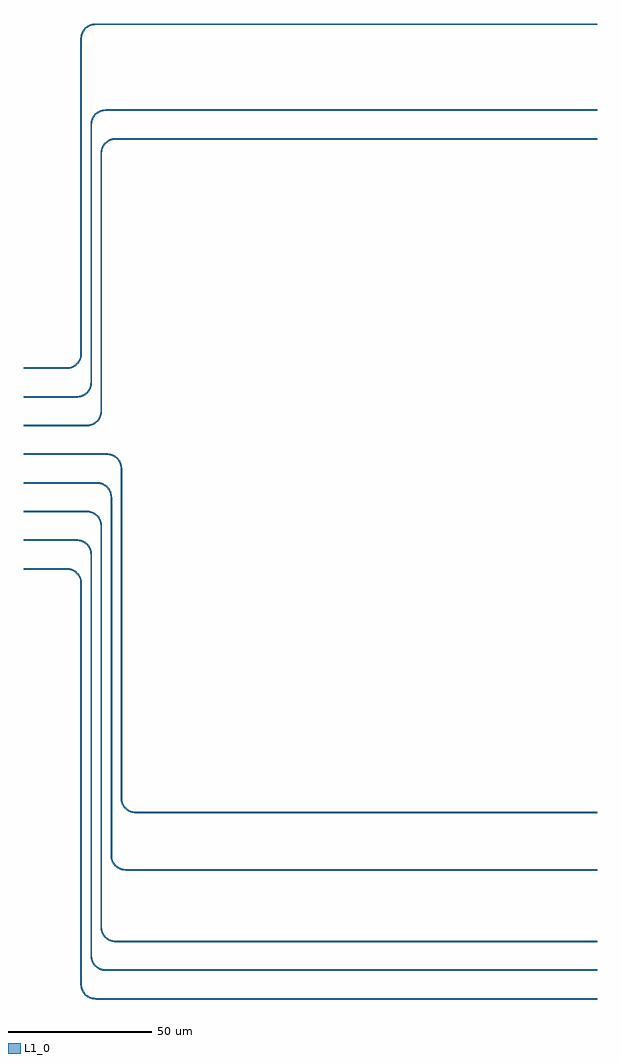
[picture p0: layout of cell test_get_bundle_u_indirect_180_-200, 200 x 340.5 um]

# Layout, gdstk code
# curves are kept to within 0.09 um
from math import pi, radians
import gdstk
lib = gdstk.Library(unit=1e-6, precision=1e-09)
def R(c, l, rs):  # rectangles x0, y0, x1, y1
    for r in rs: c.add(gdstk.rectangle(r[:2], r[2:], *l))
def P(c, l, *ps):  # polygons
    for p in ps: c.add(gdstk.Polygon(p, *l))
L1_0 = (1, 0)

bend_circular_851ae7fb = lib.new_cell('bend_circular_851ae7fb')
P(bend_circular_851ae7fb, L1_0, [(0,-0.25),(1.092,-0.135),(2.135,0.204),(3.086,0.753),(3.712,1.288),(4.247,1.914),(4.796,2.865),(5.135,3.908),(5.25,5),(4.75,5),(4.646,4.012),(4.339,3.068),(3.984,2.413),(3.359,1.641),(2.587,1.016),(1.932,0.661),(0.988,0.354),(0,0.25)])

straight_4bd381fa = lib.new_cell('straight_4bd381fa')
R(straight_4bd381fa, L1_0, [(0,-0.25,175,0.25)])

straight_db70556c = lib.new_cell('straight_db70556c')
R(straight_db70556c, L1_0, [(0,-0.25,140,0.25)])

straight_31521cfa = lib.new_cell('straight_31521cfa')
R(straight_31521cfa, L1_0, [(0,-0.25,15,0.25)])

straight_6c34575b = lib.new_cell('straight_6c34575b')
R(straight_6c34575b, L1_0, [(0,-0.25,171.5,0.25)])

straight_1526c0bd = lib.new_cell('straight_1526c0bd')
R(straight_1526c0bd, L1_0, [(0,-0.25,18.5,0.25)])

straight_ca832a6c = lib.new_cell('straight_ca832a6c')
R(straight_ca832a6c, L1_0, [(0,-0.25,168,0.25)])

straight_129d4fe5 = lib.new_cell('straight_129d4fe5')
R(straight_129d4fe5, L1_0, [(0,-0.25,22,0.25)])

straight_e9809790 = lib.new_cell('straight_e9809790')
R(straight_e9809790, L1_0, [(0,-0.25,164.5,0.25)])

straight_33f48bac = lib.new_cell('straight_33f48bac')
R(straight_33f48bac, L1_0, [(0,-0.25,125,0.25)])

straight_c028c23f = lib.new_cell('straight_c028c23f')
R(straight_c028c23f, L1_0, [(0,-0.25,25.5,0.25)])

straight_88e50a31 = lib.new_cell('straight_88e50a31')
R(straight_88e50a31, L1_0, [(0,-0.25,161,0.25)])

straight_28a3bbc1 = lib.new_cell('straight_28a3bbc1')
R(straight_28a3bbc1, L1_0, [(0,-0.25,115,0.25)])

straight_79d78d62 = lib.new_cell('straight_79d78d62')
R(straight_79d78d62, L1_0, [(0,-0.25,29,0.25)])

straight_77a04e48 = lib.new_cell('straight_77a04e48')
R(straight_77a04e48, L1_0, [(0,-0.25,90,0.25)])

straight_771a38a1 = lib.new_cell('straight_771a38a1')
R(straight_771a38a1, L1_0, [(0,-0.25,110,0.25)])

test_get_bundle_u_indire = lib.new_cell('test_get_bundle_u_indirect_180_-200')
test_get_bundle_u_indire.add(gdstk.Reference(bend_circular_851ae7fb, (-175,-100), rotation=pi, x_reflection=True))
test_get_bundle_u_indire.add(gdstk.Reference(bend_circular_851ae7fb, (-180,45), rotation=pi/2))
test_get_bundle_u_indire.add(gdstk.Reference(straight_4bd381fa, (0,-100), rotation=pi))
test_get_bundle_u_indire.add(gdstk.Reference(straight_db70556c, (-180,-95), rotation=pi/2))
test_get_bundle_u_indire.add(gdstk.Reference(straight_31521cfa, (-185,50), rotation=pi))
test_get_bundle_u_indire.add(gdstk.Reference(bend_circular_851ae7fb, (-171.5,-90), rotation=pi, x_reflection=True))
test_get_bundle_u_indire.add(gdstk.Reference(bend_circular_851ae7fb, (-176.5,55), rotation=pi/2))
test_get_bundle_u_indire.add(gdstk.Reference(straight_6c34575b, (0,-90), rotation=pi))
test_get_bundle_u_indire.add(gdstk.Reference(straight_db70556c, (-176.5,-85), rotation=pi/2))
test_get_bundle_u_indire.add(gdstk.Reference(straight_1526c0bd, (-181.5,60), rotation=pi))
test_get_bundle_u_indire.add(gdstk.Reference(bend_circular_851ae7fb, (-168,-80), rotation=pi, x_reflection=True))
test_get_bundle_u_indire.add(gdstk.Reference(bend_circular_851ae7fb, (-173,65), rotation=pi/2))
test_get_bundle_u_indire.add(gdstk.Reference(straight_ca832a6c, (0,-80), rotation=pi))
test_get_bundle_u_indire.add(gdstk.Reference(straight_db70556c, (-173,-75), rotation=pi/2))
test_get_bundle_u_indire.add(gdstk.Reference(straight_129d4fe5, (-178,70), rotation=pi))
test_get_bundle_u_indire.add(gdstk.Reference(bend_circular_851ae7fb, (-164.5,-55), rotation=pi, x_reflection=True))
test_get_bundle_u_indire.add(gdstk.Reference(bend_circular_851ae7fb, (-169.5,75), rotation=pi/2))
test_get_bundle_u_indire.add(gdstk.Reference(straight_e9809790, (0,-55), rotation=pi))
test_get_bundle_u_indire.add(gdstk.Reference(straight_33f48bac, (-169.5,-50), rotation=pi/2))
test_get_bundle_u_indire.add(gdstk.Reference(straight_c028c23f, (-174.5,80), rotation=pi))
test_get_bundle_u_indire.add(gdstk.Reference(bend_circular_851ae7fb, (-161,-35), rotation=pi, x_reflection=True))
test_get_bundle_u_indire.add(gdstk.Reference(bend_circular_851ae7fb, (-166,85), rotation=pi/2))
test_get_bundle_u_indire.add(gdstk.Reference(straight_88e50a31, (0,-35), rotation=pi))
test_get_bundle_u_indire.add(gdstk.Reference(straight_28a3bbc1, (-166,-30), rotation=pi/2))
test_get_bundle_u_indire.add(gdstk.Reference(straight_79d78d62, (-171,90), rotation=pi))
test_get_bundle_u_indire.add(gdstk.Reference(bend_circular_851ae7fb, (-168,200), rotation=pi))
test_get_bundle_u_indire.add(gdstk.Reference(bend_circular_851ae7fb, (-173,105), rotation=3*pi/2, x_reflection=True))
test_get_bundle_u_indire.add(gdstk.Reference(straight_ca832a6c, (0,200), rotation=pi))
test_get_bundle_u_indire.add(gdstk.Reference(straight_77a04e48, (-173,195), rotation=3*pi/2))
test_get_bundle_u_indire.add(gdstk.Reference(straight_129d4fe5, (-178,100), rotation=pi))
test_get_bundle_u_indire.add(gdstk.Reference(bend_circular_851ae7fb, (-171.5,210), rotation=pi))
test_get_bundle_u_indire.add(gdstk.Reference(bend_circular_851ae7fb, (-176.5,115), rotation=3*pi/2, x_reflection=True))
test_get_bundle_u_indire.add(gdstk.Reference(straight_6c34575b, (0,210), rotation=pi))
test_get_bundle_u_indire.add(gdstk.Reference(straight_77a04e48, (-176.5,205), rotation=3*pi/2))
test_get_bundle_u_indire.add(gdstk.Reference(straight_1526c0bd, (-181.5,110), rotation=pi))
test_get_bundle_u_indire.add(gdstk.Reference(bend_circular_851ae7fb, (-175,240), rotation=pi))
test_get_bundle_u_indire.add(gdstk.Reference(bend_circular_851ae7fb, (-180,125), rotation=3*pi/2, x_reflection=True))
test_get_bundle_u_indire.add(gdstk.Reference(straight_4bd381fa, (0,240), rotation=pi))
test_get_bundle_u_indire.add(gdstk.Reference(straight_771a38a1, (-180,235), rotation=3*pi/2))
test_get_bundle_u_indire.add(gdstk.Reference(straight_31521cfa, (-185,120), rotation=pi))

lib.write_gds('test_get_bundle_u_indirect_180_-200.gds')
